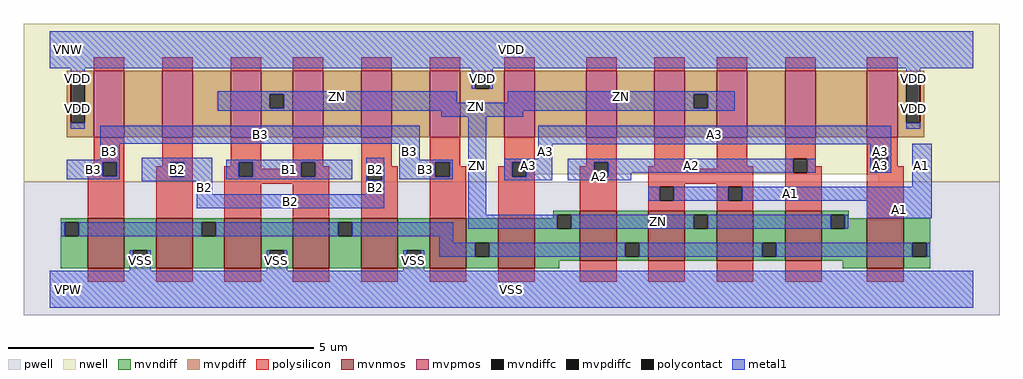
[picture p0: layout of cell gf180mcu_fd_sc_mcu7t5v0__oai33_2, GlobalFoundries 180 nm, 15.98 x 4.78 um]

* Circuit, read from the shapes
.subckt gf180mcu_fd_sc_mcu7t5v0__oai33_2 A1 A2 A3 B1 B2 B3 ZN VDD VNW VPW VSS
XM1 VSS B3 n1 VPW nfet_06v0 w=0.82u l=0.6u m=2
XM2 n1 B2 VSS VPW nfet_06v0 w=0.82u l=0.6u m=2
XM3 VSS B1 n1 VPW nfet_06v0 w=0.82u l=0.6u m=2
XM4 ZN A3 n1 VPW nfet_06v0 w=0.82u l=0.6u m=2
XM5 n1 A2 ZN VPW nfet_06v0 w=0.82u l=0.6u m=2
XM6 ZN A1 n1 VPW nfet_06v0 w=0.82u l=0.6u m=2
XM7 n2 B3 VDD VNW pfet_06v0 w=1.095u l=0.5u
XM8 n3 B2 n2 VNW pfet_06v0 w=1.095u l=0.5u
XM9 ZN B1 n3 VNW pfet_06v0 w=1.095u l=0.5u
XM10 n4 B1 ZN VNW pfet_06v0 w=1.095u l=0.5u
XM11 n5 B2 n4 VNW pfet_06v0 w=1.095u l=0.5u
XM12 VDD B3 n5 VNW pfet_06v0 w=1.095u l=0.5u
XM13 n6 A3 VDD VNW pfet_06v0 w=1.095u l=0.5u
XM14 n7 A2 n6 VNW pfet_06v0 w=1.095u l=0.5u
XM15 ZN A1 n7 VNW pfet_06v0 w=1.095u l=0.5u
XM16 n8 A1 ZN VNW pfet_06v0 w=1.095u l=0.5u
XM17 n9 A2 n8 VNW pfet_06v0 w=1.095u l=0.5u
XM18 VDD A3 n9 VNW pfet_06v0 w=1.095u l=0.5u
.ends

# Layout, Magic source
magic
tech gf180mcuD
magscale 1 10
<< nwell >>
rect -86 377 3110 870
rect -86 352 1560 377
rect 2713 352 3110 377
<< pwell >>
rect -86 -86 3110 352
<< mvnmos >>
rect 124 68 244 232
rect 348 68 468 232
rect 572 68 692 232
rect 796 68 916 232
rect 1020 68 1140 232
rect 1244 68 1364 232
rect 1468 68 1588 232
rect 1736 93 1856 257
rect 1960 93 2080 257
rect 2184 93 2304 257
rect 2408 93 2528 257
rect 2676 68 2796 232
<< mvpmos >>
rect 144 497 244 716
rect 368 497 468 716
rect 592 497 692 716
rect 796 497 896 716
rect 1020 497 1120 716
rect 1244 497 1344 716
rect 1488 497 1588 716
rect 1756 497 1856 716
rect 1980 497 2080 716
rect 2184 497 2284 716
rect 2408 497 2508 716
rect 2676 497 2776 716
<< mvndiff >>
rect 1648 244 1736 257
rect 1648 232 1661 244
rect 36 219 124 232
rect 36 173 49 219
rect 95 173 124 219
rect 36 68 124 173
rect 244 127 348 232
rect 244 81 273 127
rect 319 81 348 127
rect 244 68 348 81
rect 468 219 572 232
rect 468 173 497 219
rect 543 173 572 219
rect 468 68 572 173
rect 692 127 796 232
rect 692 81 721 127
rect 767 81 796 127
rect 692 68 796 81
rect 916 219 1020 232
rect 916 173 945 219
rect 991 173 1020 219
rect 916 68 1020 173
rect 1140 127 1244 232
rect 1140 81 1169 127
rect 1215 81 1244 127
rect 1140 68 1244 81
rect 1364 152 1468 232
rect 1364 106 1393 152
rect 1439 106 1468 152
rect 1364 68 1468 106
rect 1588 198 1661 232
rect 1707 198 1736 244
rect 1588 93 1736 198
rect 1856 152 1960 257
rect 1856 106 1885 152
rect 1931 106 1960 152
rect 1856 93 1960 106
rect 2080 244 2184 257
rect 2080 198 2109 244
rect 2155 198 2184 244
rect 2080 93 2184 198
rect 2304 152 2408 257
rect 2304 106 2333 152
rect 2379 106 2408 152
rect 2304 93 2408 106
rect 2528 244 2616 257
rect 2528 198 2557 244
rect 2603 232 2616 244
rect 2603 198 2676 232
rect 2528 93 2676 198
rect 1588 68 1668 93
rect 2596 68 2676 93
rect 2796 152 2884 232
rect 2796 106 2825 152
rect 2871 106 2884 152
rect 2796 68 2884 106
<< mvpdiff >>
rect 56 685 144 716
rect 56 545 69 685
rect 115 545 144 685
rect 56 497 144 545
rect 244 497 368 716
rect 468 497 592 716
rect 692 639 796 716
rect 692 593 721 639
rect 767 593 796 639
rect 692 497 796 593
rect 896 497 1020 716
rect 1120 497 1244 716
rect 1344 703 1488 716
rect 1344 657 1393 703
rect 1439 657 1488 703
rect 1344 497 1488 657
rect 1588 497 1756 716
rect 1856 497 1980 716
rect 2080 639 2184 716
rect 2080 593 2109 639
rect 2155 593 2184 639
rect 2080 497 2184 593
rect 2284 497 2408 716
rect 2508 497 2676 716
rect 2776 685 2864 716
rect 2776 545 2805 685
rect 2851 545 2864 685
rect 2776 497 2864 545
<< mvndiffc >>
rect 49 173 95 219
rect 273 81 319 127
rect 497 173 543 219
rect 721 81 767 127
rect 945 173 991 219
rect 1169 81 1215 127
rect 1393 106 1439 152
rect 1661 198 1707 244
rect 1885 106 1931 152
rect 2109 198 2155 244
rect 2333 106 2379 152
rect 2557 198 2603 244
rect 2825 106 2871 152
<< mvpdiffc >>
rect 69 545 115 685
rect 721 593 767 639
rect 1393 657 1439 703
rect 2109 593 2155 639
rect 2805 545 2851 685
<< polysilicon >>
rect 144 716 244 760
rect 368 716 468 760
rect 592 716 692 760
rect 796 716 896 760
rect 1020 716 1120 760
rect 1244 716 1344 760
rect 1488 716 1588 760
rect 1756 716 1856 760
rect 1980 716 2080 760
rect 2184 716 2284 760
rect 2408 716 2508 760
rect 2676 716 2776 760
rect 144 416 244 497
rect 144 402 174 416
rect 124 370 174 402
rect 220 370 244 416
rect 368 415 468 497
rect 368 402 395 415
rect 124 232 244 370
rect 348 369 395 402
rect 441 369 468 415
rect 592 415 692 497
rect 592 402 619 415
rect 348 232 468 369
rect 572 369 619 402
rect 665 394 692 415
rect 796 415 896 497
rect 796 394 823 415
rect 665 369 823 394
rect 869 402 896 415
rect 1020 402 1120 497
rect 1244 415 1344 497
rect 869 369 916 402
rect 572 346 916 369
rect 572 232 692 346
rect 796 232 916 346
rect 1020 356 1041 402
rect 1087 356 1140 402
rect 1020 232 1140 356
rect 1244 369 1263 415
rect 1309 402 1344 415
rect 1488 415 1588 497
rect 1488 402 1515 415
rect 1309 369 1364 402
rect 1244 232 1364 369
rect 1468 369 1515 402
rect 1561 369 1588 415
rect 1756 415 1856 497
rect 1756 402 1783 415
rect 1468 232 1588 369
rect 1736 369 1783 402
rect 1829 369 1856 415
rect 1980 402 2080 497
rect 1736 257 1856 369
rect 1960 394 2080 402
rect 2184 402 2284 497
rect 2408 428 2508 497
rect 2184 394 2304 402
rect 1960 346 2304 394
rect 1960 336 2080 346
rect 1960 290 1997 336
rect 2043 290 2080 336
rect 1960 257 2080 290
rect 2184 336 2304 346
rect 2184 290 2221 336
rect 2267 290 2304 336
rect 2184 257 2304 290
rect 2408 382 2435 428
rect 2481 402 2508 428
rect 2676 433 2776 497
rect 2481 382 2528 402
rect 2408 257 2528 382
rect 2676 387 2698 433
rect 2744 402 2776 433
rect 2744 387 2796 402
rect 2676 232 2796 387
rect 124 24 244 68
rect 348 24 468 68
rect 572 24 692 68
rect 796 24 916 68
rect 1020 24 1140 68
rect 1244 24 1364 68
rect 1468 24 1588 68
rect 1736 24 1856 93
rect 1960 24 2080 93
rect 2184 24 2304 93
rect 2408 24 2528 93
rect 2676 24 2796 68
<< polycontact >>
rect 174 370 220 416
rect 395 369 441 415
rect 619 369 665 415
rect 823 369 869 415
rect 1041 356 1087 402
rect 1263 369 1309 415
rect 1515 369 1561 415
rect 1783 369 1829 415
rect 1997 290 2043 336
rect 2221 290 2267 336
rect 2435 382 2481 428
rect 2698 387 2744 433
<< metal1 >>
rect 0 724 3024 844
rect 69 685 115 724
rect 1382 703 1450 724
rect 1382 657 1393 703
rect 1439 657 1450 703
rect 2805 685 2851 724
rect 550 639 1332 648
rect 550 593 721 639
rect 767 611 1332 639
rect 1500 639 2243 648
rect 1500 611 2109 639
rect 767 593 2109 611
rect 2155 593 2243 639
rect 550 584 2243 593
rect 1282 565 1550 584
rect 69 526 115 545
rect 165 476 1212 536
rect 165 424 229 476
rect 56 416 229 424
rect 56 370 174 416
rect 220 370 229 416
rect 56 360 229 370
rect 302 415 532 430
rect 302 369 395 415
rect 441 369 532 415
rect 302 354 532 369
rect 578 415 990 424
rect 578 369 619 415
rect 665 369 823 415
rect 869 369 990 415
rect 578 360 990 369
rect 1036 402 1096 430
rect 482 311 532 354
rect 1036 356 1041 402
rect 1087 356 1096 402
rect 1144 424 1212 476
rect 1144 415 1320 424
rect 1144 369 1263 415
rect 1309 369 1320 415
rect 1144 360 1320 369
rect 1036 311 1096 356
rect 482 265 1096 311
rect 1370 244 1430 565
rect 1600 474 2755 536
rect 2805 526 2851 545
rect 1600 428 1646 474
rect 2687 433 2755 474
rect 1488 415 1646 428
rect 1488 369 1515 415
rect 1561 369 1646 415
rect 1488 356 1646 369
rect 1696 415 2435 428
rect 1696 369 1783 415
rect 1829 382 2435 415
rect 2481 382 2508 428
rect 2687 387 2698 433
rect 2744 387 2755 433
rect 2687 382 2755 387
rect 1829 369 1904 382
rect 1696 356 1904 369
rect 2824 336 2888 476
rect 1960 290 1997 336
rect 2043 290 2221 336
rect 2267 290 2888 336
rect 36 173 49 219
rect 95 173 497 219
rect 543 173 945 219
rect 991 173 1322 219
rect 1370 198 1661 244
rect 1707 198 2109 244
rect 2155 198 2557 244
rect 2603 198 2614 244
rect 2676 232 2888 290
rect 1276 152 1322 173
rect 262 81 273 127
rect 319 81 330 127
rect 262 60 330 81
rect 710 81 721 127
rect 767 81 778 127
rect 710 60 778 81
rect 1158 81 1169 127
rect 1215 81 1226 127
rect 1276 106 1393 152
rect 1439 106 1885 152
rect 1931 106 2333 152
rect 2379 106 2825 152
rect 2871 106 2884 152
rect 1158 60 1226 81
rect 0 -60 3024 60
<< labels >>
flabel metal1 s 1600 474 2755 536 0 FreeSans 400 0 0 0 A3
port 3 nsew default input
flabel metal1 s 578 360 990 424 0 FreeSans 400 0 0 0 B1
port 4 nsew default input
flabel metal1 s 1036 354 1096 430 0 FreeSans 400 0 0 0 B2
port 5 nsew default input
flabel metal1 s 165 476 1212 536 0 FreeSans 400 0 0 0 B3
port 6 nsew default input
flabel metal1 s 0 724 3024 844 0 FreeSans 400 0 0 0 VDD
port 8 nsew power bidirectional abutment
flabel metal1 s 1158 60 1226 127 0 FreeSans 400 0 0 0 VSS
port 11 nsew ground bidirectional abutment
flabel metal1 s 1500 611 2243 648 0 FreeSans 400 0 0 0 ZN
port 7 nsew default output
flabel metal1 s 2824 336 2888 476 0 FreeSans 400 0 0 0 A1
port 1 nsew default input
flabel metal1 s 1696 382 2508 428 0 FreeSans 400 0 0 0 A2
port 2 nsew default input
flabel nwell s 10 734 110 834 0 FreeSans 400 0 0 0 VNW
port 9 nsew power bidirectional
flabel pwell s 10 -50 110 50 0 FreeSans 400 0 0 0 VPW
port 10 nsew ground bidirectional
rlabel metal1 s 1960 290 2888 336 1 A1
port 1 nsew default input
rlabel metal1 s 2676 232 2888 290 1 A1
port 1 nsew default input
rlabel metal1 s 1696 356 1904 382 1 A2
port 2 nsew default input
rlabel metal1 s 2687 428 2755 474 1 A3
port 3 nsew default input
rlabel metal1 s 1600 428 1646 474 1 A3
port 3 nsew default input
rlabel metal1 s 2687 382 2755 428 1 A3
port 3 nsew default input
rlabel metal1 s 1488 382 1646 428 1 A3
port 3 nsew default input
rlabel metal1 s 1488 356 1646 382 1 A3
port 3 nsew default input
rlabel metal1 s 302 354 532 430 1 B2
port 5 nsew default input
rlabel metal1 s 1036 311 1096 354 1 B2
port 5 nsew default input
rlabel metal1 s 482 311 532 354 1 B2
port 5 nsew default input
rlabel metal1 s 482 265 1096 311 1 B2
port 5 nsew default input
rlabel metal1 s 1144 424 1212 476 1 B3
port 6 nsew default input
rlabel metal1 s 165 424 229 476 1 B3
port 6 nsew default input
rlabel metal1 s 1144 360 1320 424 1 B3
port 6 nsew default input
rlabel metal1 s 56 360 229 424 1 B3
port 6 nsew default input
rlabel metal1 s 550 611 1332 648 1 ZN
port 7 nsew default output
rlabel metal1 s 550 584 2243 611 1 ZN
port 7 nsew default output
rlabel metal1 s 1282 565 1550 584 1 ZN
port 7 nsew default output
rlabel metal1 s 1370 244 1430 565 1 ZN
port 7 nsew default output
rlabel metal1 s 1370 198 2614 244 1 ZN
port 7 nsew default output
rlabel metal1 s 2805 657 2851 724 1 VDD
port 8 nsew power bidirectional abutment
rlabel metal1 s 1382 657 1450 724 1 VDD
port 8 nsew power bidirectional abutment
rlabel metal1 s 69 657 115 724 1 VDD
port 8 nsew power bidirectional abutment
rlabel metal1 s 2805 526 2851 657 1 VDD
port 8 nsew power bidirectional abutment
rlabel metal1 s 69 526 115 657 1 VDD
port 8 nsew power bidirectional abutment
rlabel metal1 s 710 60 778 127 1 VSS
port 11 nsew ground bidirectional abutment
rlabel metal1 s 262 60 330 127 1 VSS
port 11 nsew ground bidirectional abutment
rlabel metal1 s 0 -60 3024 60 1 VSS
port 11 nsew ground bidirectional abutment
<< properties >>
string FIXED_BBOX 0 0 3024 784
string GDS_END 79436
string GDS_FILE $PDKPATH/libs.ref/gf180mcu_fd_sc_mcu7t5v0/gds/gf180mcu_fd_sc_mcu7t5v0.gds
string GDS_START 73554
string LEFclass core
string LEFsite GF018hv5v_mcu_sc7
string LEFsymmetry X Y
<< end >>
